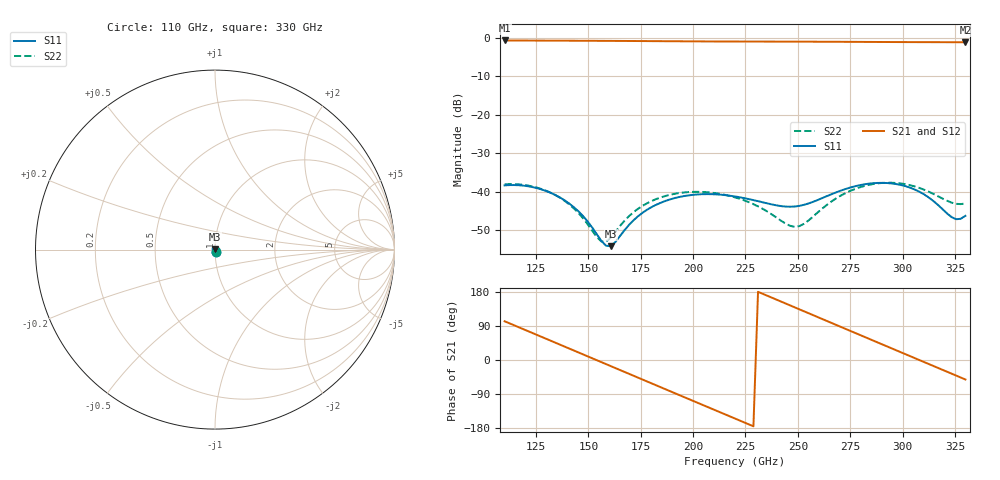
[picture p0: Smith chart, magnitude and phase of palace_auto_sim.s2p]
#  GHZ S DB R 50
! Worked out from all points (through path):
!   101 points, 110 GHz to 330 GHz, reference 50 ohm
!   highest |S21| = -0.74 dB at 110 GHz (marker M1); lowest = -1.2 dB at 330 GHz (marker M2)
!   group delay of S21, straight-line fit = 6.49 ps
!   lowest |S11| = -54.2 dB at 160.6 GHz (marker M3), VSWR 1.00, Z = 50.2 + j0.113 ohm
!   |S11| at or under -10 dB: start of sweep to end of sweep
!   |S22| runs from -53.0 to -37.7 dB; largest |S21 - S12| = 1e-13
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110  -38.39 -76.0  -0.74 102.2  -0.74 102.2  -38.12 -76.1
118.8  -38.45 -101.4  -0.76 81.7  -0.76 81.7  -38.25 -101.4
127.6  -39.45 -128.7  -0.78 61.2  -0.78 61.2  -39.34 -128.5
138.6  -42.26 -166.8  -0.80 35.5  -0.80 35.5  -42.40 -167.1
147.4  -46.34 155.6  -0.82 14.9  -0.82 14.9  -46.91 152.9
156.2  -52.81 92.2  -0.84 -5.6  -0.84 -5.6  -52.96 75.6
160.6  -54.19 35.3  -0.85 -15.9  -0.85 -15.9  -52.02 20.1
171.6  -47.44 -57.8  -0.89 -41.6  -0.89 -41.6  -45.34 -54.9
184.8  -42.85 -118.3  -0.93 -72.5  -0.93 -72.5  -41.48 -110.7
193.6  -41.39 -154.3  -0.96 -93.0  -0.96 -93.0  -40.37 -144.5
202.4  -40.74 170.9  -0.99 -113.5  -0.99 -113.5  -40.07 -177.2
220  -41.27 103.4  -1.02 -154.4  -1.02 -154.4  -41.51 120.1
228.8  -42.22 68.2  -1.03 -175.0  -1.03 -175.0  -43.27 87.9
237.6  -43.34 28.1  -1.04 164.5  -1.04 164.5  -45.95 49.2
248.6  -43.88 -32.5  -1.05 138.7  -1.05 138.7  -49.16 -28.1
257.4  -42.64 -82.5  -1.07 118.1  -1.07 118.1  -46.43 -98.0
275  -38.96 -161.4  -1.10 76.9  -1.10 76.9  -39.83 -177.9
283.8  -37.95 166.3  -1.13 56.4  -1.13 56.4  -38.28 151.2
294.8  -37.89 128.3  -1.15 30.7  -1.15 30.7  -37.71 113.6
312.4  -41.50 62.4  -1.18 -10.3  -1.18 -10.3  -40.01 46.2
323.4  -46.64 -7.1  -1.20 -36.0  -1.20 -36.0  -42.87 -15.4
330  -46.31 -72.0  -1.20 -51.4  -1.20 -51.4  -43.07 -63.3
